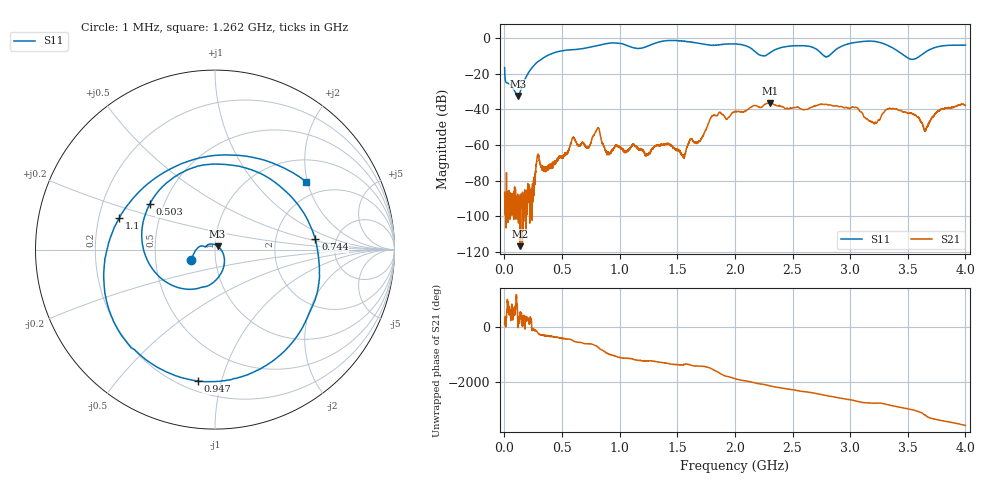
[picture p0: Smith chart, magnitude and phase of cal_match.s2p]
!Created with skrf (http://scikit-rf.org).
# GHz S RI R 50.0
!freq ReS11 ImS11 ReS21 ImS21 ReS12 ImS12 ReS22 ImS22
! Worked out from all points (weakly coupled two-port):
!   4000 points, 1 MHz to 4 GHz, reference 50 ohm
!   highest |S21| = -36.35 dB at 2.302 GHz (marker M1); lowest = -116.7 dB at 134 MHz (marker M2)
!   lowest |S11| = -32.4 dB at 116 MHz (marker M3), VSWR 1.05, Z = 51.4 + j1.96 ohm
!   |S11| at or under -10 dB: start of sweep to 365.3 MHz; 2.775 GHz to 2.813 GHz (38.28 MHz wide, 1.37 % of centre); 3.475 GHz to 3.605 GHz (129.9 MHz wide, 3.67 % of centre)
!   S12 and S22 are empty: the file has one direction only
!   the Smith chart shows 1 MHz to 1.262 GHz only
!   S11 on the Smith chart (normalised r, x): 1 MHz: 0.76, -0.09; 503 MHz: 0.42, +0.27; 744 MHz: 3.46, +0.58; 947 MHz: 0.26, -0.84; 1.1 GHz: 0.29, +0.15; 1.262 GHz: 1.55, +1.96
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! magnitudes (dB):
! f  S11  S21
! 1 MHz  -16.6  -86.5
! 116 MHz  -32.4  -95.6
! 134 MHz  -30.5  -116.7
! 269 MHz  -14.4  -74.5
! 503 MHz  -7.1  -67.0
! 668 MHz  -6.0  -59.2
! 744 MHz  -5.0  -59.8
! 809 MHz  -4.1  -50.5
! 891 MHz  -3.0  -65.0
! 947 MHz  -2.6  -62.1
! 1.1 GHz  -5.0  -60.8
! 1.262 GHz  -4.0  -64.8
! 1.334 GHz  -2.3  -60.1
! 1.553 GHz  -1.7  -65.9
! 1.805 GHz  -4.0  -43.6
! 2.001 GHz  -3.2  -41.2
! 2.302 GHz  -8.3  -36.3
! 2.667 GHz  -5.0  -38.7
! 3.211 GHz  -1.8  -47.8
! 3.334 GHz  -4.3  -39.7
! 3.653 GHz  -7.8  -52.3
! 4 GHz  -3.9  -37.8
